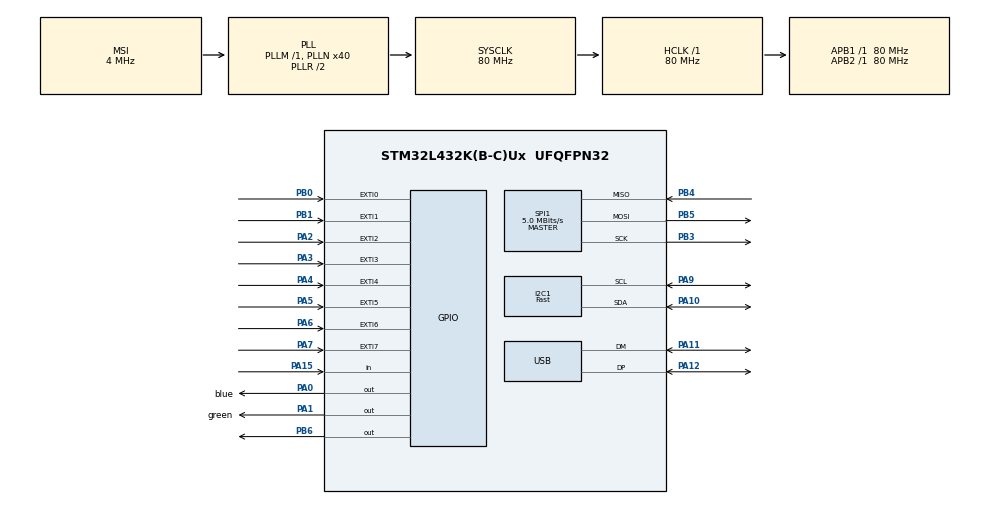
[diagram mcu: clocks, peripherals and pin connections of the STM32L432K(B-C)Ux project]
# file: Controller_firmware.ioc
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I2C1.I2C_Speed_Mode=I2C_Fast
I2C1.Timing=0x00F12981
Mcu.Family=STM32L4
Mcu.Name=STM32L432K(B-C)Ux
Mcu.Package=UFQFPN32
NVIC.PriorityGroup=NVIC_PRIORITYGROUP_4
NVIC.SPI1_IRQn=true\:0\:0\:false\:false\:true\:true\:true\:true
PA0.GPIO_Label=blue
PA0.Signal=GPIO_Output
PA1.GPIO_Label=green
PA1.Signal=GPIO_Output
PA10.Mode=I2C
PA10.Signal=I2C1_SDA
PA11.Mode=Device
PA11.Signal=USB_DM
PA12.Mode=Device
PA12.Signal=USB_DP
PA13\ (JTMS-SWDIO).Mode=Serial_Wire
PA13\ (JTMS-SWDIO).Signal=SYS_JTMS-SWDIO
PA14\ (JTCK-SWCLK).Mode=Serial_Wire
PA14\ (JTCK-SWCLK).Signal=SYS_JTCK-SWCLK
PA15\ (JTDI).Signal=GPIO_Input
PA2.Signal=GPXTI2
PA3.Signal=GPXTI3
PA4.Signal=GPXTI4
PA5.Signal=GPXTI5
PA6.Signal=GPXTI6
PA7.Signal=GPXTI7
PA9.Mode=I2C
PA9.Signal=I2C1_SCL
PB0.Signal=GPXTI0
PB1.Signal=GPXTI1
PB3\ (JTDO-TRACESWO).Mode=Full_Duplex_Master
PB3\ (JTDO-TRACESWO).Signal=SPI1_SCK
PB4\ (NJTRST).Mode=Full_Duplex_Master
PB4\ (NJTRST).Signal=SPI1_MISO
PB5.Mode=Full_Duplex_Master
PB5.Signal=SPI1_MOSI
PB6.Signal=GPIO_Output
ProjectManager.HeapSize=0x200
ProjectManager.StackSize=0x400
ProjectManager.TargetToolchain=STM32CubeIDE
RCC.ADCFreq_Value=48000000
RCC.AHBFreq_Value=80000000
RCC.APB1Freq_Value=80000000
RCC.APB1TimFreq_Value=80000000
RCC.APB2Freq_Value=80000000
RCC.APB2TimFreq_Value=80000000
RCC.CortexFreq_Value=80000000
RCC.HCLKFreq_Value=80000000
RCC.HSE_VALUE=8000000
RCC.HSI48_VALUE=48000000
RCC.HSI_VALUE=16000000
RCC.LSE_VALUE=32768
RCC.MSI_VALUE=4000000
RCC.PLLN=40
RCC.PLLSAI1N=24
RCC.SYSCLKFreq_VALUE=80000000
RCC.SYSCLKSource=RCC_SYSCLKSOURCE_PLLCLK
RCC.USBFreq_Value=48000000
RCC.VCOOutputFreq_Value=160000000
SPI1.BaudRatePrescaler=SPI_BAUDRATEPRESCALER_16
SPI1.CalculateBaudRate=5.0 MBits/s
SPI1.Direction=SPI_DIRECTION_2LINES
SPI1.Mode=SPI_MODE_MASTER
SPI1.VirtualType=VM_MASTER
board=custom

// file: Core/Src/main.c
/* USER CODE BEGIN Header */
/**
  ******************************************************************************
  * @file           : main.c
  * @brief          : Main program body
  ******************************************************************************
  * @attention
  *
  * Copyright (c) 2025 STMicroelectronics.
  * All rights reserved.
  *
  * This software is licensed under terms that can be found in the LICENSE file
  * in the root directory of this software component.
  * If no LICENSE file comes with this software, it is provided AS-IS.
  *
  ******************************************************************************
  */
/* USER CODE END Header */
#include "main.h"

/* USER CODE BEGIN Includes */
#include "NRF24L01.h"
#include "ssd1306.h"
#include "fonts.h"
#include "test.h"
/* USER CODE END Includes */

I2C_HandleTypeDef hi2c1;

SPI_HandleTypeDef hspi1;

PCD_HandleTypeDef hpcd_USB_FS;

void SystemClock_Config(void);
static void MX_GPIO_Init(void);
static void MX_I2C1_Init(void);
static void MX_SPI1_Init(void);
static void MX_USB_PCD_Init(void);
/* USER CODE BEGIN PFP */
void EXTI2_IRQHandler(void);
void EXTI3_IRQHandler(void);
void EXTI4_IRQHandler(void);
void EXTI5_IRQHandler(void);
void EXTI6_IRQHandler(void);
void EXTI7_IRQHandler(void);
void EXTI9_5_IRQHandler(void); // Button 6,7 for GPIO_PIN_6 and GPIO_PIN_7
void EXTI15_10_IRQHandler(void); // Button 8 for GPIO_PIN_10
/* USER CODE END PFP */

/* USER CODE BEGIN 0 */

// uint8_t RxAddress[] = {0x00,0xDD,0xCC,0xBB,0xAA};
// uint8_t RxData[32];

uint8_t data;

uint8_t TxAddress[] = {0xEE,0xDD,0xCC,0xBB,0xAA};
// uint8_t TxData[] = "Hello World\n";

void display(uint8_t num)
{
	char buf[11];
	sprintf(buf, "%d       ", num);

	SSD1306_GotoXY (10,10);
	SSD1306_Puts (buf, &Font_11x18, 1);
	SSD1306_UpdateScreen();
}

/* USER CODE END 0 */

int main(void)
{

  /* MCU Configuration--------------------------------------------------------*/

  /* Reset of all peripherals, Initializes the Flash interface and the Systick. */
  HAL_Init();

  /* Configure the system clock */
  SystemClock_Config();

  /* Initialize all configured peripherals */
  MX_GPIO_Init();
  MX_I2C1_Init();
  MX_SPI1_Init();
  MX_USB_PCD_Init();
  /* USER CODE BEGIN 2 */

  NRF24_Init();

  // NRF24_RxMode(RxAddress, 10);

  NRF24_TxMode(TxAddress, 10);

  // NRF24_ReadAll(data);

  SSD1306_Init();

  SSD1306_GotoXY (10,30);
  SSD1306_Puts ("   SUDAR", &Font_11x18, 1);
  SSD1306_UpdateScreen();
  SSD1306_GotoXY (10,10);
  SSD1306_Puts ("  TITANA", &Font_11x18, 1);
  SSD1306_UpdateScreen();

  HAL_Delay(1500);

  uint8_t i = 0;

  /* USER CODE END 2 */

  /* Infinite loop */
  while (1)
  {

  }
}

void SystemClock_Config(void)
{
  RCC_OscInitTypeDef RCC_OscInitStruct = {0};
  RCC_ClkInitTypeDef RCC_ClkInitStruct = {0};

  /** Configure the main internal regulator output voltage
  */
  if (HAL_PWREx_ControlVoltageScaling(PWR_REGULATOR_VOLTAGE_SCALE1) != HAL_OK)
  {
    Error_Handler();
  }

  /** Initializes the RCC Oscillators according to the specified parameters
  * in the RCC_OscInitTypeDef structure.
  */
  RCC_OscInitStruct.OscillatorType = RCC_OSCILLATORTYPE_MSI;
  RCC_OscInitStruct.MSIState = RCC_MSI_ON;
  RCC_OscInitStruct.MSICalibrationValue = 0;
  RCC_OscInitStruct.MSIClockRange = RCC_MSIRANGE_6;
  RCC_OscInitStruct.PLL.PLLState = RCC_PLL_ON;
  RCC_OscInitStruct.PLL.PLLSource = RCC_PLLSOURCE_MSI;
  RCC_OscInitStruct.PLL.PLLM = 1;
  RCC_OscInitStruct.PLL.PLLN = 40;
  RCC_OscInitStruct.PLL.PLLP = RCC_PLLP_DIV7;
  RCC_OscInitStruct.PLL.PLLQ = RCC_PLLQ_DIV2;
  RCC_OscInitStruct.PLL.PLLR = RCC_PLLR_DIV2;
  if (HAL_RCC_OscConfig(&RCC_OscInitStruct) != HAL_OK)
  {
    Error_Handler();
  }

  /** Initializes the CPU, AHB and APB buses clocks
  */
  RCC_ClkInitStruct.ClockType = RCC_CLOCKTYPE_HCLK|RCC_CLOCKTYPE_SYSCLK
                              |RCC_CLOCKTYPE_PCLK1|RCC_CLOCKTYPE_PCLK2;
  RCC_ClkInitStruct.SYSCLKSource = RCC_SYSCLKSOURCE_PLLCLK;
  RCC_ClkInitStruct.AHBCLKDivider = RCC_SYSCLK_DIV1;
  RCC_ClkInitStruct.APB1CLKDivider = RCC_HCLK_DIV1;
  RCC_ClkInitStruct.APB2CLKDivider = RCC_HCLK_DIV1;

  if (HAL_RCC_ClockConfig(&RCC_ClkInitStruct, FLASH_LATENCY_4) != HAL_OK)
  {
    Error_Handler();
  }
}

static void MX_I2C1_Init(void)
{

  hi2c1.Instance = I2C1;
  hi2c1.Init.Timing = 0x00F12981;
  hi2c1.Init.OwnAddress1 = 0;
  hi2c1.Init.AddressingMode = I2C_ADDRESSINGMODE_7BIT;
  hi2c1.Init.DualAddressMode = I2C_DUALADDRESS_DISABLE;
  hi2c1.Init.OwnAddress2 = 0;
  hi2c1.Init.OwnAddress2Masks = I2C_OA2_NOMASK;
  hi2c1.Init.GeneralCallMode = I2C_GENERALCALL_DISABLE;
  hi2c1.Init.NoStretchMode = I2C_NOSTRETCH_DISABLE;
  if (HAL_I2C_Init(&hi2c1) != HAL_OK)
  {
    Error_Handler();
  }

  /** Configure Analogue filter
  */
  if (HAL_I2CEx_ConfigAnalogFilter(&hi2c1, I2C_ANALOGFILTER_ENABLE) != HAL_OK)
  {
    Error_Handler();
  }

  /** Configure Digital filter
  */
  if (HAL_I2CEx_ConfigDigitalFilter(&hi2c1, 0) != HAL_OK)
  {
    Error_Handler();
  }

}

static void MX_SPI1_Init(void)
{

  /* SPI1 parameter configuration*/
  hspi1.Instance = SPI1;
  hspi1.Init.Mode = SPI_MODE_MASTER;
  hspi1.Init.Direction = SPI_DIRECTION_2LINES;
  hspi1.Init.DataSize = SPI_DATASIZE_4BIT;
  hspi1.Init.CLKPolarity = SPI_POLARITY_LOW;
  hspi1.Init.CLKPhase = SPI_PHASE_1EDGE;
  hspi1.Init.NSS = SPI_NSS_SOFT;
  hspi1.Init.BaudRatePrescaler = SPI_BAUDRATEPRESCALER_16;
  hspi1.Init.FirstBit = SPI_FIRSTBIT_MSB;
  hspi1.Init.TIMode = SPI_TIMODE_DISABLE;
  hspi1.Init.CRCCalculation = SPI_CRCCALCULATION_DISABLE;
  hspi1.Init.CRCPolynomial = 7;
  hspi1.Init.CRCLength = SPI_CRC_LENGTH_DATASIZE;
  hspi1.Init.NSSPMode = SPI_NSS_PULSE_ENABLE;
  if (HAL_SPI_Init(&hspi1) != HAL_OK)
  {
    Error_Handler();
  }

}

static void MX_USB_PCD_Init(void)
{

  hpcd_USB_FS.Instance = USB;
  hpcd_USB_FS.Init.dev_endpoints = 8;
  hpcd_USB_FS.Init.speed = PCD_SPEED_FULL;
  hpcd_USB_FS.Init.phy_itface = PCD_PHY_EMBEDDED;
  hpcd_USB_FS.Init.Sof_enable = DISABLE;
  hpcd_USB_FS.Init.low_power_enable = DISABLE;
  hpcd_USB_FS.Init.lpm_enable = DISABLE;
  hpcd_USB_FS.Init.battery_charging_enable = DISABLE;
  if (HAL_PCD_Init(&hpcd_USB_FS) != HAL_OK)
  {
    Error_Handler();
  }

}

static void MX_GPIO_Init(void)
{
  GPIO_InitTypeDef GPIO_InitStruct = {0};

  /* GPIO Ports Clock Enable */
  __HAL_RCC_GPIOA_CLK_ENABLE();
  __HAL_RCC_GPIOB_CLK_ENABLE();

  /*Configure GPIO pin Output Level */
  HAL_GPIO_WritePin(GPIOA, blue_Pin|green_Pin, GPIO_PIN_RESET);

  /*Configure GPIO pin Output Level */
  HAL_GPIO_WritePin(GPIOB, GPIO_PIN_6, GPIO_PIN_RESET);

  /*Configure GPIO pins : blue_Pin green_Pin */
  GPIO_InitStruct.Pin = blue_Pin|green_Pin;
  GPIO_InitStruct.Mode = GPIO_MODE_OUTPUT_PP;
  GPIO_InitStruct.Pull = GPIO_NOPULL;
  GPIO_InitStruct.Speed = GPIO_SPEED_FREQ_LOW;
  HAL_GPIO_Init(GPIOA, &GPIO_InitStruct);

  /*Configure GPIO pins : PA2 PA3 PA4 PA5
                           PA6 PA7 */
  GPIO_InitStruct.Pin = GPIO_PIN_2|GPIO_PIN_3|GPIO_PIN_4|GPIO_PIN_5
                          |GPIO_PIN_6|GPIO_PIN_7;
  GPIO_InitStruct.Mode = GPIO_MODE_IT_RISING;
  GPIO_InitStruct.Pull = GPIO_NOPULL;
  HAL_GPIO_Init(GPIOA, &GPIO_InitStruct);

  /*Configure GPIO pins : PB0 PB1 */
  GPIO_InitStruct.Pin = GPIO_PIN_0|GPIO_PIN_1;
  GPIO_InitStruct.Mode = GPIO_MODE_IT_RISING;
  GPIO_InitStruct.Pull = GPIO_NOPULL;
  HAL_GPIO_Init(GPIOB, &GPIO_InitStruct);

  /*Configure GPIO pin : PA15 */
  GPIO_InitStruct.Pin = GPIO_PIN_15;
  GPIO_InitStruct.Mode = GPIO_MODE_INPUT;
  GPIO_InitStruct.Pull = GPIO_NOPULL;
  HAL_GPIO_Init(GPIOA, &GPIO_InitStruct);

  /*Configure GPIO pin : PB6 */
  GPIO_InitStruct.Pin = GPIO_PIN_6;
  GPIO_InitStruct.Mode = GPIO_MODE_OUTPUT_PP;
  GPIO_InitStruct.Pull = GPIO_NOPULL;
  GPIO_InitStruct.Speed = GPIO_SPEED_FREQ_LOW;
  HAL_GPIO_Init(GPIOB, &GPIO_InitStruct);

/* USER CODE BEGIN MX_GPIO_Init_2 */
  /* Enable EXTI (External Interrupt) Lines */
  HAL_NVIC_SetPriority(EXTI2_IRQn, 2, 0);
  HAL_NVIC_EnableIRQ(EXTI2_IRQn);

  HAL_NVIC_SetPriority(EXTI3_IRQn, 2, 0);
  HAL_NVIC_EnableIRQ(EXTI3_IRQn);

  HAL_NVIC_SetPriority(EXTI4_IRQn, 2, 0);
  HAL_NVIC_EnableIRQ(EXTI4_IRQn);

  HAL_NVIC_SetPriority(EXTI9_5_IRQn, 2, 0);
  HAL_NVIC_EnableIRQ(EXTI9_5_IRQn);

  HAL_NVIC_SetPriority(EXTI15_10_IRQn, 2, 0);
  HAL_NVIC_EnableIRQ(EXTI15_10_IRQn);
/* USER CODE END MX_GPIO_Init_2 */
}

/* USER CODE BEGIN 4 */
uint8_t numberToSend = 0;

/* Button Interrupt Handlers */
void EXTI2_IRQHandler(void) {
    if (__HAL_GPIO_EXTI_GET_IT(GPIO_PIN_2) != RESET) {
        data = 1; // Data for Button 1
        NRF24_Transmit(&data);
        __HAL_GPIO_EXTI_CLEAR_IT(GPIO_PIN_2); // Clear interrupt
    }
    HAL_GPIO_WritePin(GPIOA, GPIO_PIN_1, GPIO_PIN_SET);
    HAL_Delay(500);
    HAL_GPIO_WritePin(GPIOA, GPIO_PIN_1, GPIO_PIN_RESET);
}

void EXTI3_IRQHandler(void) {
    if (__HAL_GPIO_EXTI_GET_IT(GPIO_PIN_3) != RESET) {
        data = 2; // Data for Button 2
        NRF24_Transmit(&data);
        __HAL_GPIO_EXTI_CLEAR_IT(GPIO_PIN_3);
    }
    HAL_GPIO_WritePin(GPIOA, GPIO_PIN_1, GPIO_PIN_SET);
    HAL_Delay(500);
    HAL_GPIO_WritePin(GPIOA, GPIO_PIN_1, GPIO_PIN_RESET);
}

void EXTI4_IRQHandler(void) {
    if (__HAL_GPIO_EXTI_GET_IT(GPIO_PIN_4) != RESET) {
        data = 3; // Data for Button 3
        NRF24_Transmit(&data);
        __HAL_GPIO_EXTI_CLEAR_IT(GPIO_PIN_4);
    }
    HAL_GPIO_WritePin(GPIOA, GPIO_PIN_1, GPIO_PIN_SET);
    HAL_Delay(500);
    HAL_GPIO_WritePin(GPIOA, GPIO_PIN_1, GPIO_PIN_RESET);
}

void EXTI9_5_IRQHandler(void) {
    if (__HAL_GPIO_EXTI_GET_IT(GPIO_PIN_5)) { data = 4; NRF24_Transmit(&data); __HAL_GPIO_EXTI_CLEAR_IT(GPIO_PIN_5); }
    if (__HAL_GPIO_EXTI_GET_IT(GPIO_PIN_6)) { data = 5; NRF24_Transmit(&data); __HAL_GPIO_EXTI_CLEAR_IT(GPIO_PIN_6); }
    if (__HAL_GPIO_EXTI_GET_IT(GPIO_PIN_7)) { data = 6; NRF24_Transmit(&data); __HAL_GPIO_EXTI_CLEAR_IT(GPIO_PIN_7); }
    if (__HAL_GPIO_EXTI_GET_IT(GPIO_PIN_8)) { data = 7; NRF24_Transmit(&data); __HAL_GPIO_EXTI_CLEAR_IT(GPIO_PIN_8); }
    HAL_GPIO_WritePin(GPIOA, GPIO_PIN_1, GPIO_PIN_SET);
    HAL_Delay(500);
    HAL_GPIO_WritePin(GPIOA, GPIO_PIN_1, GPIO_PIN_RESET);
}

void EXTI15_10_IRQHandler(void) {
    if (__HAL_GPIO_EXTI_GET_IT(GPIO_PIN_10) != RESET) {
        data = 8; // Data for Button 8
        NRF24_Transmit(&data);
        __HAL_GPIO_EXTI_CLEAR_IT(GPIO_PIN_10);
    }
    HAL_GPIO_WritePin(GPIOA, GPIO_PIN_1, GPIO_PIN_SET);
    HAL_Delay(500);
    HAL_GPIO_WritePin(GPIOA, GPIO_PIN_1, GPIO_PIN_RESET);
}

/* USER CODE END 4 */

void Error_Handler(void)
{
  __disable_irq();
  while (1)
  {
  }
}
